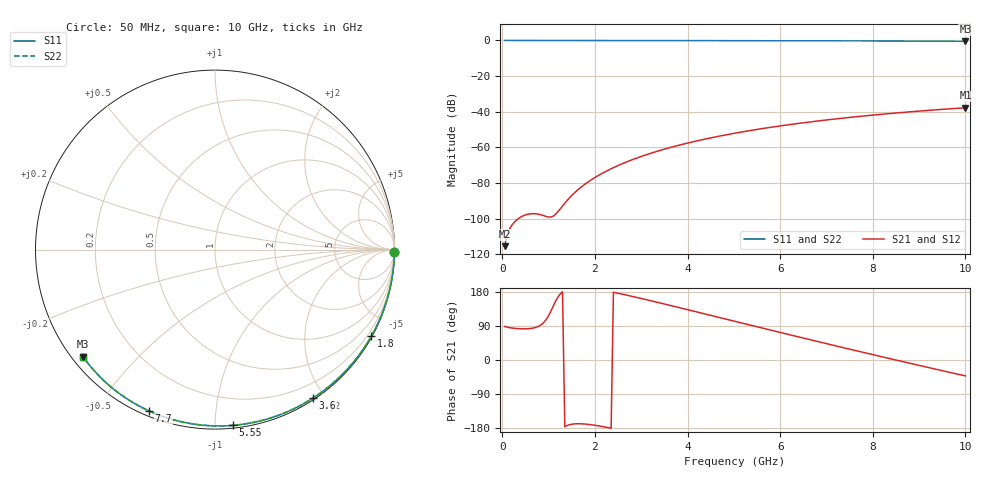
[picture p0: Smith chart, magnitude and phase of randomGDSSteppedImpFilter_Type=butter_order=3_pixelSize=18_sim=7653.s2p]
! freq	dB(S11)	phase(S11)	dB(S12)	phase(S12)
!  dB(S21)	phase(S21)	dB(S22)	phase(S22)
!S-par simulation data
#  GHz  S  DB  R 50
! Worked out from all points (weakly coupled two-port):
!   200 points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, 50 MHz to 10 GHz, reference 50 ohm
!   highest |S21| = -37.77 dB at 10 GHz (marker M1); lowest = -115.4 dB at 50 MHz (marker M2)
!   lowest |S11| = -0.5 dB at 10 GHz (marker M3), VSWR 36.71, Z = 1.53 - j17.7 ohm
!   |S11| at or under -10 dB: nowhere
!   |S22| runs from -0.5 to 0.0 dB; largest |S21 - S12| = 0
!   S11 on the Smith chart (normalised r, x): 50 MHz: open; 1.8 GHz: 0.03, -3.88; 3.6 GHz: 0.02, -1.86; 5.55 GHz: 0.02, -1.11; 7.7 GHz: 0.02, -0.67; 10 GHz: 0.03, -0.35
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0.05  -0.00 -0.8  -115.45 88.3  -115.45 88.3  -0.00 -0.8
0.45  -0.01 -7.3  -98.42 82.2  -98.42 82.2  -0.01 -7.3
0.9  -0.02 -14.6  -98.37 99.5  -98.37 99.5  -0.02 -14.6
1.75  -0.04 -28.1  -81.33 -168.7  -81.33 -168.7  -0.04 -28.1
1.8  -0.04 -28.9  -80.36 -169.1  -80.36 -169.1  -0.04 -28.9
1.85  -0.04 -29.7  -79.44 -169.8  -79.44 -169.8  -0.04 -29.7
2.05  -0.04 -32.8  -76.13 -173.2  -76.13 -173.2  -0.04 -32.9
2.2  -0.04 -35.2  -73.97 -176.4  -73.97 -176.4  -0.04 -35.2
2.55  -0.05 -40.6  -69.62 174.8  -69.62 174.8  -0.05 -40.6
2.95  -0.06 -46.7  -65.55 163.8  -65.55 163.8  -0.06 -46.7
3.4  -0.07 -53.5  -61.76 150.7  -61.76 150.7  -0.07 -53.5
3.6  -0.08 -56.5  -60.27 144.8  -60.27 144.8  -0.08 -56.5
3.9  -0.08 -60.9  -58.23 135.9  -58.23 135.9  -0.08 -60.9
4.3  -0.09 -66.7  -55.79 123.8  -55.79 123.8  -0.09 -66.7
5.05  -0.12 -77.3  -51.91 101.2  -51.91 101.2  -0.12 -77.3
5.55  -0.14 -84.2  -49.72 86.2  -49.72 86.2  -0.14 -84.2
6.1  -0.16 -91.6  -47.59 69.7  -47.59 69.7  -0.16 -91.6
6.7  -0.19 -99.5  -45.54 52.0  -45.54 52.0  -0.19 -99.5
7.7  -0.26 -112.3  -42.65 22.8  -42.65 22.8  -0.26 -112.3
8.35  -0.31 -120.5  -41.05 4.2  -41.05 4.2  -0.31 -120.5
9.2  -0.39 -131.1  -39.23 -19.8  -39.23 -19.8  -0.39 -131.1
10  -0.47 -141.0  -37.77 -42.0  -37.77 -42.0  -0.47 -141.0
